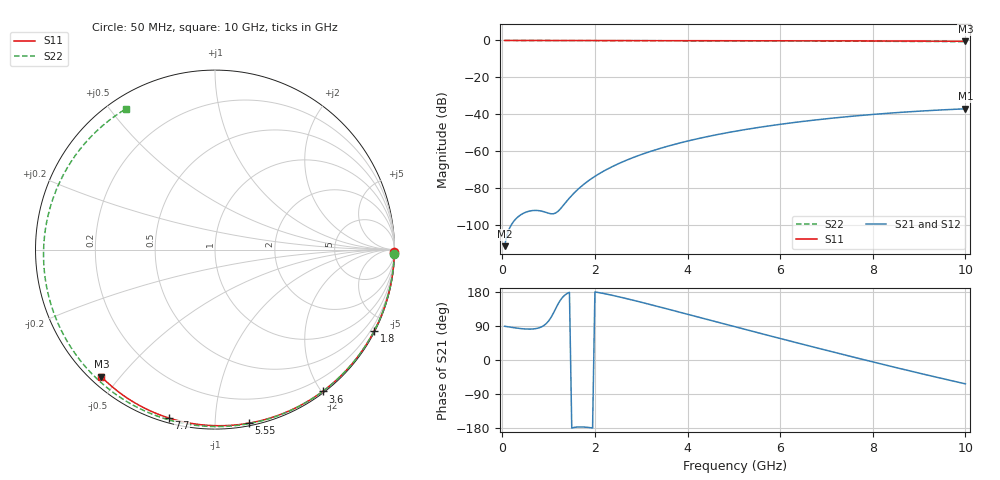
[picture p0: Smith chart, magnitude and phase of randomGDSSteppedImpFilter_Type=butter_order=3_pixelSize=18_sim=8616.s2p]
! freq	dB(S11)	phase(S11)	dB(S12)	phase(S12)
!  dB(S21)	phase(S21)	dB(S22)	phase(S22)
!S-par simulation data
#  GHz  S  DB  R 50
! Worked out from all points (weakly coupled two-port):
!   200 points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, 50 MHz to 10 GHz, reference 50 ohm
!   highest |S21| = -37.05 dB at 10 GHz (marker M1); lowest = -111.5 dB at 50 MHz (marker M2)
!   lowest |S11| = -0.4 dB at 10 GHz (marker M3), VSWR 38.95, Z = 1.54 - j22.3 ohm
!   |S11| at or under -10 dB: nowhere
!   |S22| runs from -0.7 to 0.0 dB; largest |S21 - S12| = 0
!   S11 on the Smith chart (normalised r, x): 50 MHz: open; 1.8 GHz: 0.04, -4.16; 3.6 GHz: 0.02, -2.01; 5.55 GHz: 0.02, -1.22; 7.7 GHz: 0.02, -0.76; 10 GHz: 0.03, -0.45
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0.05  -0.00 -0.8  -111.52 89.1  -111.52 89.1  -0.00 -1.3
0.8  -0.02 -12.1  -92.30 85.1  -92.30 85.1  -0.03 -20.5
1.65  -0.03 -24.8  -80.33 -176.7  -80.33 -176.7  -0.05 -41.8
1.75  -0.03 -26.3  -78.18 -176.8  -78.18 -176.8  -0.06 -44.3
1.8  -0.03 -27.0  -77.20 -177.3  -77.20 -177.3  -0.06 -45.5
2.1  -0.04 -31.4  -72.12 177.6  -72.12 177.6  -0.07 -52.8
2.5  -0.05 -37.2  -66.90 167.3  -66.90 167.3  -0.08 -62.5
2.9  -0.06 -43.0  -62.77 155.5  -62.77 155.5  -0.09 -71.9
3.4  -0.07 -50.0  -58.58 139.9  -58.58 139.9  -0.11 -83.5
3.6  -0.07 -52.8  -57.14 133.6  -57.14 133.6  -0.12 -88.0
4.3  -0.09 -62.4  -52.81 111.1  -52.81 111.1  -0.15 -103.7
5.05  -0.11 -72.4  -49.14 87.0  -49.14 87.0  -0.18 -120.1
5.55  -0.13 -78.9  -47.09 71.0  -47.09 71.0  -0.21 -130.9
6.15  -0.15 -86.5  -44.96 52.0  -44.96 52.0  -0.26 -143.8
6.7  -0.18 -93.3  -43.28 34.8  -43.28 34.8  -0.30 -155.8
7.2  -0.21 -99.4  -41.93 19.3  -41.93 19.3  -0.34 -167.0
7.7  -0.24 -105.3  -40.75 4.0  -40.75 4.0  -0.39 -178.4
8.35  -0.29 -113.0  -39.43 -15.5  -39.43 -15.5  -0.46 166.2
8.75  -0.32 -117.6  -38.73 -27.3  -38.73 -27.3  -0.51 156.2
9.15  -0.36 -122.2  -38.11 -39.0  -38.11 -39.0  -0.55 145.8
9.55  -0.40 -126.7  -37.57 -50.4  -37.57 -50.4  -0.60 135.1
10  -0.45 -131.8  -37.05 -62.9  -37.05 -62.9  -0.65 122.3
